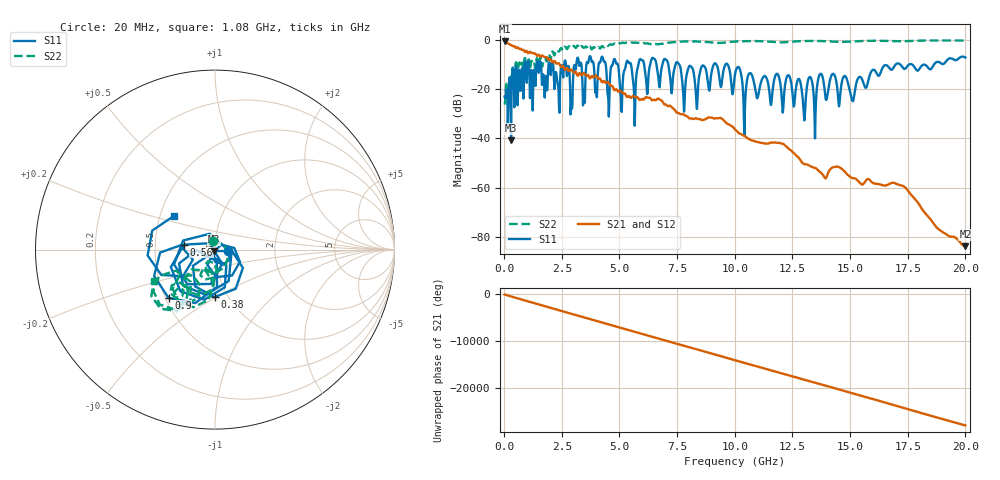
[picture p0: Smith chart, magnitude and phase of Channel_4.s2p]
! Created Sun Jun 24 21:03:13 2012
# hz S ma R 100
! 2 Port Network Data from SP1.SP block
! freq  magS11  angS11  magS21  angS21  magS12  angS12  magS22  angS22
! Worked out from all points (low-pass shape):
!   1000 points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, 20 MHz to 20 GHz, reference 100 ohm
!   highest |S21| = -0.48 dB at 20 MHz (marker M1); lowest = -83.9 dB at 20 GHz (marker M2)
!   |S21| within 3 dB of the highest: start of sweep to 637.9 MHz
!   lowest |S11| = -40.8 dB at 300 MHz (marker M3), VSWR 1.02, Z = 99.3 - j1.67 ohm
!   |S11| at or under -10 dB: start of sweep to 879.8 MHz; 7.599 GHz to 9.086 GHz (1.487 GHz wide, 17.8 % of centre); 9.695 GHz to 16.97 GHz (7.276 GHz wide, 54.6 % of centre)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
!   |S22| runs from -26.3 to -0.1 dB; largest |S21 - S12| = 0.0002
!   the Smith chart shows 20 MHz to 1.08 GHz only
!   S11 on the Smith chart (normalised r, x): 20 MHz: 1.15, -0.01; 380 MHz: 0.87, -0.49; 560 MHz: 0.70, +0.04; 900 MHz: 0.52, -0.32; 1.08 GHz: 0.59, +0.24
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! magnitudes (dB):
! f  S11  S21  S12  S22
! 20 MHz  -23.0  -0.5  -0.5  -26.3
! 300 MHz  -40.8  -1.9  -1.9  -18.5
! 380 MHz  -11.5  -2.5  -2.5  -11.2
! 560 MHz  -15.2  -3.0  -3.0  -12.0
! 900 MHz  -8.6  -4.8  -4.8  -7.3
! 1.08 GHz  -10.6  -5.1  -5.1  -8.3
! 3.36 GHz  -10.8  -14.2  -14.2  -2.4
! 6.68 GHz  -14.7  -23.8  -23.8  -1.7
! 10.02 GHz  -13.5  -36.4  -36.5  -0.6
! 10.42 GHz  -39.0  -39.0  -39.0  -0.4
! 10.66 GHz  -13.4  -40.4  -40.4  -0.4
! 10.98 GHz  -23.7  -41.4  -41.4  -0.4
! 12.78 GHz  -15.8  -48.0  -48.0  -0.4
! 13 GHz  -30.8  -50.4  -50.5  -0.4
! 13.34 GHz  -16.5  -51.6  -51.6  -0.3
! 13.48 GHz  -40.0  -52.0  -52.0  -0.3
! 13.7 GHz  -13.8  -53.7  -53.7  -0.4
! 13.98 GHz  -24.1  -55.7  -55.8  -0.4
! 14.78 GHz  -14.6  -53.6  -53.7  -0.7
! 15.1 GHz  -24.7  -56.2  -56.2  -0.5
! 16.68 GHz  -11.1  -58.7  -58.7  -0.4
! 20 GHz  -7.1  -83.9  -83.9  -0.2
